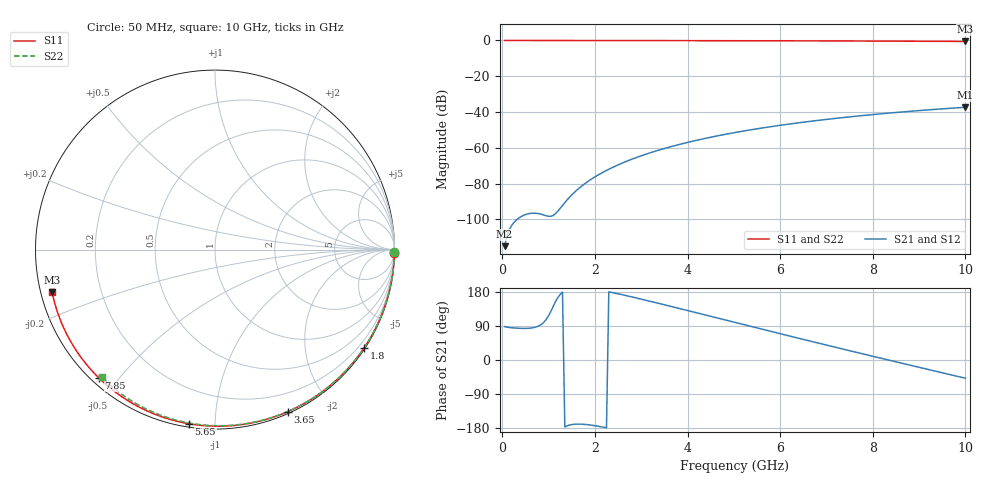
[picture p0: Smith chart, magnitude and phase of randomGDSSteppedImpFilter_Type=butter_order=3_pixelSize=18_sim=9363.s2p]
! freq	dB(S11)	phase(S11)	dB(S12)	phase(S12)
!  dB(S21)	phase(S21)	dB(S22)	phase(S22)
!S-par simulation data
#  GHz  S  DB  R 50
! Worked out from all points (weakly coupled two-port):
!   200 points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, 50 MHz to 10 GHz, reference 50 ohm
!   highest |S21| = -37.35 dB at 10 GHz (marker M1); lowest = -115.0 dB at 50 MHz (marker M2)
!   lowest |S11| = -0.6 dB at 10 GHz (marker M3), VSWR 31.27, Z = 1.63 - j6.42 ohm
!   |S11| at or under -10 dB: nowhere
!   |S22| runs from -0.4 to 0.0 dB; largest |S21 - S12| = 0
!   S11 on the Smith chart (normalised r, x): 50 MHz: open; 1.8 GHz: 0.03, -3.33; 3.65 GHz: 0.02, -1.54; 5.65 GHz: 0.02, -0.86; 7.85 GHz: 0.02, -0.44; 10 GHz: 0.03, -0.13
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0.05  -0.00 -0.9  -114.99 88.1  -114.99 88.1  -0.00 -0.8
0.45  -0.01 -8.5  -97.86 83.3  -97.86 83.3  -0.01 -6.8
0.85  -0.02 -16.0  -97.21 94.6  -97.21 94.6  -0.02 -12.9
1.3  -0.03 -24.3  -92.20 179.0  -92.20 179.0  -0.02 -19.6
1.75  -0.04 -32.5  -80.68 -169.6  -80.68 -169.6  -0.03 -26.3
1.8  -0.04 -33.4  -79.71 -170.1  -79.71 -170.1  -0.03 -27.0
2.1  -0.05 -38.8  -74.74 -175.4  -74.74 -175.4  -0.04 -31.4
2.3  -0.05 -42.4  -71.98 179.9  -71.98 179.9  -0.04 -34.3
2.5  -0.06 -46.0  -69.55 174.7  -69.55 174.7  -0.05 -37.2
2.9  -0.07 -53.0  -65.39 163.5  -65.39 163.5  -0.06 -42.9
3.4  -0.08 -61.6  -61.14 148.8  -61.14 148.8  -0.07 -50.0
3.65  -0.09 -65.9  -59.31 141.2  -59.31 141.2  -0.07 -53.5
4.3  -0.11 -76.8  -55.20 121.4  -55.20 121.4  -0.09 -62.4
5.05  -0.14 -88.9  -51.35 98.4  -51.35 98.4  -0.11 -72.4
5.65  -0.17 -98.5  -48.77 80.1  -48.77 80.1  -0.13 -80.1
6.15  -0.19 -106.2  -46.89 64.9  -46.89 64.9  -0.15 -86.4
6.7  -0.23 -114.7  -45.04 48.3  -45.04 48.3  -0.18 -93.2
7.25  -0.26 -123.0  -43.40 31.9  -43.40 31.9  -0.21 -99.9
7.85  -0.31 -132.1  -41.80 14.2  -41.80 14.2  -0.25 -107.0
8.35  -0.36 -139.7  -40.60 -0.5  -40.60 -0.5  -0.29 -112.9
9.2  -0.45 -152.7  -38.80 -25.1  -38.80 -25.1  -0.36 -122.6
10  -0.56 -165.4  -37.35 -48.1  -37.35 -48.1  -0.45 -131.7
